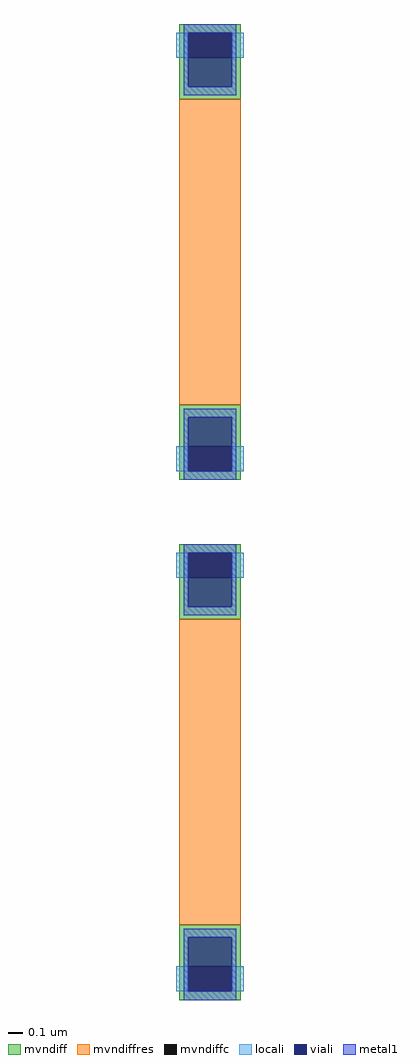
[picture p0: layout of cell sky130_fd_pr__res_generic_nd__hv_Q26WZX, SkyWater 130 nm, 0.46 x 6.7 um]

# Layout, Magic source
magic
tech sky130A
magscale 1 2
<< mvndiff >>
rect -42 658 42 670
rect -42 624 -30 658
rect 30 624 42 658
rect -42 567 42 624
rect -42 90 42 147
rect -42 56 -30 90
rect 30 56 42 90
rect -42 44 42 56
rect -42 -56 42 -44
rect -42 -90 -30 -56
rect 30 -90 42 -56
rect -42 -147 42 -90
rect -42 -624 42 -567
rect -42 -658 -30 -624
rect 30 -658 42 -624
rect -42 -670 42 -658
<< mvndiffc >>
rect -30 624 30 658
rect -30 56 30 90
rect -30 -90 30 -56
rect -30 -658 30 -624
<< mvndiffres >>
rect -42 147 42 567
rect -42 -567 42 -147
<< locali >>
rect -46 624 -30 658
rect 30 624 46 658
rect -46 56 -30 90
rect 30 56 46 90
rect -46 -90 -30 -56
rect 30 -90 46 -56
rect -46 -658 -30 -624
rect 30 -658 46 -624
<< viali >>
rect -30 624 30 658
rect -30 584 30 624
rect -30 90 30 130
rect -30 56 30 90
rect -30 -90 30 -56
rect -30 -130 30 -90
rect -30 -624 30 -584
rect -30 -658 30 -624
<< metal1 >>
rect -36 658 36 670
rect -36 584 -30 658
rect 30 584 36 658
rect -36 572 36 584
rect -36 130 36 142
rect -36 56 -30 130
rect 30 56 36 130
rect -36 44 36 56
rect -36 -56 36 -44
rect -36 -130 -30 -56
rect 30 -130 36 -56
rect -36 -142 36 -130
rect -36 -584 36 -572
rect -36 -658 -30 -584
rect 30 -658 36 -584
rect -36 -670 36 -658
<< properties >>
string gencell sky130_fd_pr__res_generic_nd__hv
string library sky130
string parameters w 0.42 l 2.1 m 2 nx 1 wmin 0.42 lmin 2.10 rho 120 val 630.0 dummy 0 dw 0.02 term 0.0 sterm 0.0 caplen 0.4 snake 1 guard 0 glc 1 grc 1 gtc 1 gbc 1 roverlap 0 endcov 100 full_metal 1 vias 1 viagb 0 viagt 0 viagl 0 viagr 0
<< end >>
